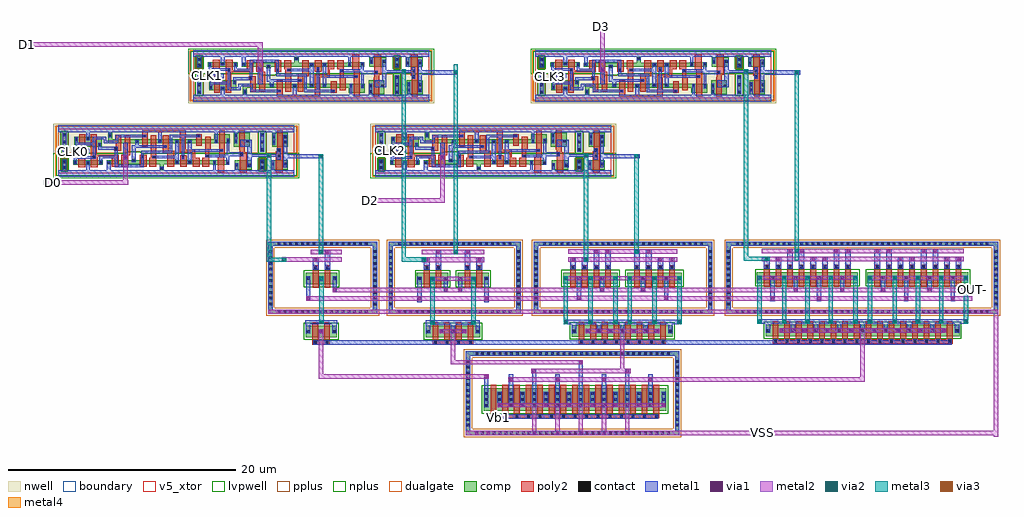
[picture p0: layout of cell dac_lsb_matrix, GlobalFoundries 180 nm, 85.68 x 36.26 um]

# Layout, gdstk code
from math import pi, radians
import gdstk
lib = gdstk.Library(unit=1e-6, precision=5e-09)
def R(c, l, rs):  # rectangles x0, y0, x1, y1
    for r in rs: c.add(gdstk.rectangle(r[:2], r[2:], *l))
def A(c, l, x, y, w, h, nx, ny, dx, dy):  # array of equal rectangles
    R(c, l, [(x+i*dx, y+j*dy, x+i*dx+w, y+j*dy+h) for i in range(nx) for j in range(ny)])
def P(c, l, *ps):  # polygons
    for p in ps: c.add(gdstk.Polygon(p, *l))
boundary = (0, 0)
nwell = (21, 0)
comp = (22, 0)
poly2 = (30, 0)
pplus = (31, 0)
nplus = (32, 0)
contact = (33, 0)
metal1 = (34, 0)
via1 = (35, 0)
metal2 = (36, 0)
via2 = (38, 0)
via3 = (40, 0)
metal3 = (42, 0)
metal4 = (46, 0)
dualgate = (55, 0)
v5_xtor = (112, 1)
lvpwell = (204, 0)

gf180mcu_fd_sc_mcu7t5v0_ = lib.new_cell('gf180mcu_fd_sc_mcu7t5v0__endcap$2')

c_gf180mcu_fd_sc_mcu7t5v0_ = lib.new_cell('gf180mcu_fd_sc_mcu7t5v0__inv_1')

dffqnq_1 = lib.new_cell('dffqnq_1')
R(dffqnq_1, boundary, [(0.43,0.595,1.55,4.515), (1.55,0.595,17.79,4.515), (17.79,0.595,18.91,4.515), (18.91,0.595,21.15,4.515)])
R(dffqnq_1, nwell, [(0,2.355,1.98,4.945), (17.36,2.355,19.34,4.945), (18.48,2.355,21.58,4.945)])
P(dffqnq_1, nwell, [(1.12,2.355),(1.12,4.945),(18.22,4.945),(18.22,2.355),(7.67,2.355),(7.67,2.48),(6.415,2.48),(6.415,2.355)])
R(dffqnq_1, comp, [(0.71,0.875,1.23,1.875), (18.07,0.875,18.59,1.875), (15.91,0.935,17.39,1.755), (19.09,0.935,20.57,1.755), (1.73,1.35,4.33,1.755), (0.79,2.515,1.15,4.155), (18.15,2.515,18.51,4.155), (1.83,2.955,4.23,3.82), (15.85,2.955,17.23,4.175), (19.19,2.955,20.57,4.175)])
P(dffqnq_1, comp, [(4.79,3.23),(4.79,4.195),(5.15,4.195),(5.15,3.59),(14.11,3.59),(14.11,4.03),(15.49,4.03),(15.49,3.23)],
  [(9.33,0.885),(9.33,1.39),(4.69,1.39),(4.69,1.75),(6.87,1.75),(6.87,1.88),(7.23,1.88),(7.23,1.75),(15.45,1.75),(15.45,1.35),(13.97,1.35),(13.97,1.39),(9.69,1.39),(9.69,0.885)])
R(dffqnq_1, poly2, [(7.59,1.17,8.19,2.215), (11.11,1.17,11.71,2.21), (12.53,3.01,13.03,4.05)])
P(dffqnq_1, poly2, [(16.35,0.715),(16.35,2.675),(16.29,2.675),(16.29,4.395),(16.79,4.395),(16.79,2.445),(16.95,2.445),(16.95,0.715)],
  [(14.41,0.715),(14.41,2.035),(14.55,2.035),(14.55,4.395),(15.05,4.395),(15.05,2.15),(15.01,2.15),(15.01,0.715)],
  [(13.07,1.17),(13.07,1.97),(13.31,1.97),(13.31,3.81),(13.81,3.81),(13.81,2.675),(13.67,2.675),(13.67,1.17)],
  [(12.23,1.17),(12.23,2.455),(11.105,2.455),(11.105,4.195),(8.29,4.195),(8.29,2.95),(7.79,2.95),(7.79,4.395),(11.605,4.395),(11.605,2.655),(12.43,2.655),(12.43,1.97),(12.83,1.97),(12.83,1.17)],
  [(9.99,1.17),(9.99,2.375),(9.61,2.375),(9.61,3.955),(10.11,3.955),(10.11,2.575),(10.59,2.575),(10.59,1.17)],
  [(8.43,1.17),(8.43,1.97),(8.53,1.97),(8.53,3.955),(9.03,3.955),(9.03,1.17)],
  [(5.97,1.17),(5.97,2.215),(6.25,2.215),(6.25,3.955),(6.75,3.955),(6.75,2.18),(6.57,2.18),(6.57,1.17)],
  [(5.33,2.57),(5.33,2.93),(5.45,2.93),(5.45,3.955),(5.95,3.955),(5.95,2.57)],
  [(3.29,1.13),(3.29,4.045),(3.79,4.045),(3.79,2.255),(5.73,2.255),(5.73,1.17),(5.13,1.17),(5.13,2.055),(3.89,2.055),(3.89,1.13)],
  [(2.17,1.13),(2.17,2.035),(2.27,2.035),(2.27,4.045),(2.77,4.045),(2.77,1.13)],
  [(19.53,0.715),(19.53,2.525),(19.63,2.525),(19.63,4.395),(20.13,4.395),(20.13,0.715)])
R(dffqnq_1, pplus, [(0.63,0.795,1.31,1.955), (17.99,0.795,18.67,1.955), (18.71,2.355,21.35,4.715)])
P(dffqnq_1, pplus, [(1.35,2.355),(1.35,4.715),(17.99,4.715),(17.99,2.355),(7.67,2.355),(7.67,2.48),(6.415,2.48),(6.415,2.355)],
  [(0.23,2.355),(0.23,4.715),(1.75,4.715),(1.75,2.355),(1.31,2.355),(1.31,4.315),(0.63,4.315),(0.63,2.355)],
  [(17.59,2.355),(17.59,4.715),(19.11,4.715),(19.11,2.355),(18.67,2.355),(18.67,4.315),(17.99,4.315),(17.99,2.355)])
R(dffqnq_1, nplus, [(18.71,0.395,21.35,2.355)])
P(dffqnq_1, nplus, [(1.35,0.395),(1.35,2.355),(6.415,2.355),(6.415,2.48),(7.67,2.48),(7.67,2.355),(17.99,2.355),(17.99,0.395)],
  [(0.23,0.395),(0.23,2.355),(0.63,2.355),(0.63,4.315),(1.31,4.315),(1.31,1.955),(0.63,1.955),(0.63,0.795),(1.31,0.795),(1.31,4.315),(1.31,2.355),(1.75,2.355),(1.75,0.395)],
  [(17.59,0.395),(17.59,2.355),(17.99,2.355),(17.99,4.315),(18.67,4.315),(18.67,1.955),(17.99,1.955),(17.99,0.795),(18.67,0.795),(18.67,4.315),(18.67,2.355),(19.11,2.355),(19.11,0.395)])
A(dffqnq_1, contact, 0.86, 2.585, 0.22, 0.22, 1, 3, 0, 0.64)
A(dffqnq_1, contact, 18.22, 2.585, 0.22, 0.22, 1, 3, 0, 0.64)
R(dffqnq_1, contact, [(9.4,0.955,9.62,1.175), (0.86,0.995,1.08,1.215), (18.22,0.995,18.44,1.215), (15.98,1.205,16.2,1.425), (17.1,1.205,17.32,1.425), (19.16,1.33,19.38,1.55), (20.28,1.33,20.5,1.55), (2.92,1.42,3.14,1.64), (14.04,1.42,14.26,1.64), (15.16,1.42,15.38,1.64), (4.76,1.46,4.98,1.68), (10.74,1.46,10.96,1.68), (11.86,1.46,12.08,1.68), (1.8,1.465,2.02,1.685), (4.04,1.465,4.26,1.685), (0.86,1.5,1.08,1.72), (18.22,1.5,18.44,1.72), (6.94,1.59,7.16,1.81), (8.74,1.92,8.96,2.14), (11.275,1.92,11.495,2.14), (6.185,1.925,6.405,2.145), (7.72,1.925,7.94,2.145), (3.47,1.935,3.69,2.155), (13.38,2,13.6,2.22), (19.7,2.015,19.92,2.235), (16.42,2.155,16.64,2.375), (2.34,2.45,2.56,2.67), (19.7,2.485,19.92,2.705), (14.62,2.495,14.84,2.715), (5.4,2.64,5.62,2.86), (9.68,2.84,9.9,3.06), (3.94,3.025,4.16,3.245), (19.26,3.225,19.48,3.445), (20.28,3.225,20.5,3.445), (7.22,3.3,7.44,3.52), (9.24,3.3,9.46,3.52), (10.735,3.3,10.955,3.52), (11.86,3.3,12.08,3.52), (14.18,3.345,14.4,3.565), (15.2,3.345,15.42,3.565), (15.92,3.345,16.14,3.565), (16.94,3.345,17.16,3.565), (1.9,3.465,2.12,3.685), (2.92,3.53,3.14,3.75), (19.26,3.695,19.48,3.915), (20.28,3.695,20.5,3.915), (7.86,3.76,8.08,3.98), (12.6,3.76,12.82,3.98), (15.92,3.815,16.14,4.035), (4.86,3.84,5.08,4.06)])
R(dffqnq_1, metal1, [(1.15,0.295,1.55,0.895), (20.175,1.125,20.505,3.985), (19.62,1.795,19.945,2.795), (6.12,1.805,6.525,3.305), (18.73,1.99,19.11,2.37), (17.4,2.055,19.62,2.285), (1.555,2.365,2.975,2.745), (2.2,2.365,3.14,2.745)])
P(dffqnq_1, metal1, [(14.175,3.23),(14.175,4.215),(9.52,4.215),(9.52,3.295),(9.18,3.295),(9.18,4.215),(5.085,4.215),(5.085,3.78),(4.855,3.78),(4.855,4.215),(3.2,4.215),(3.2,3.525),(2.86,3.525),(2.86,4.215),(1.55,4.215),(1.55,4.815),(17.79,4.815),(17.79,4.215),(16.145,4.215),(16.145,3.23),(15.915,3.23),(15.915,4.215),(14.405,4.215),(14.405,3.23)],
  [(1.55,0.295),(1.55,0.895),(2.86,0.895),(2.86,1.645),(3.2,1.645),(3.2,0.895),(4.7,0.895),(4.7,1.685),(5.04,1.685),(5.04,0.895),(9.34,0.895),(9.34,1.18),(9.68,1.18),(9.68,0.895),(14.035,0.895),(14.035,1.7),(14.265,1.7),(14.265,0.895),(15.975,0.895),(15.975,1.485),(16.205,1.485),(16.205,0.895),(17.79,0.895),(17.79,0.295)],
  [(17.02,1.145),(17.02,2.925),(16.385,2.925),(16.385,3.57),(17.4,3.57),(17.4,1.145)],
  [(15.155,1.35),(15.155,1.995),(13.32,1.995),(13.32,2.225),(15.195,2.225),(15.195,3.625),(15.425,3.625),(15.425,2.435),(16.645,2.435),(16.645,2.095),(15.42,2.095),(15.42,1.35)],
  [(11.8,1.455),(11.8,3.525),(12.14,3.525),(12.14,2.725),(14.9,2.725),(14.9,2.49),(12.14,2.49),(12.14,1.455)],
  [(5.395,1.125),(5.395,1.92),(4.265,1.92),(4.265,1.405),(4.035,1.405),(4.035,2.15),(5.395,2.15),(5.395,2.685),(3.935,2.685),(3.935,3.305),(4.165,3.305),(4.165,2.92),(5.625,2.92),(5.625,1.355),(7.715,1.355),(7.715,2.605),(10.19,2.605),(10.19,3.985),(12.88,3.985),(12.88,3.755),(11.5,3.755),(11.5,1.82),(11.27,1.82),(11.27,3.755),(10.42,3.755),(10.42,2.375),(7.945,2.375),(7.945,1.125)],
  [(10.68,1.455),(10.68,1.915),(8.68,1.915),(8.68,2.145),(10.675,2.145),(10.675,3.525),(11.02,3.525),(11.02,1.455)],
  [(6.875,1.585),(6.875,3.065),(7.16,3.065),(7.16,3.525),(7.5,3.525),(7.5,3.065),(9.96,3.065),(9.96,2.835),(7.22,2.835),(7.22,1.585)],
  [(1.795,1.405),(1.795,2.105),(3.465,2.105),(3.465,3.065),(1.895,3.065),(1.895,3.75),(2.125,3.75),(2.125,3.295),(3.465,3.295),(3.465,3.81),(4.625,3.81),(4.625,3.48),(5.44,3.48),(5.44,3.985),(8.14,3.985),(8.14,3.755),(5.67,3.755),(5.67,3.245),(4.395,3.245),(4.395,3.575),(3.695,3.575),(3.695,1.875),(2.025,1.875),(2.025,1.405)],
  [(0.43,0.295),(0.43,0.895),(0.8,0.895),(0.8,1.785),(1.14,1.785),(1.14,0.895),(1.55,0.895),(1.55,0.295)],
  [(17.79,0.295),(17.79,0.895),(18.16,0.895),(18.16,1.785),(18.5,1.785),(18.5,0.895),(18.91,0.895),(18.91,0.295)],
  [(0.8,2.515),(0.8,4.215),(0.43,4.215),(0.43,4.815),(1.55,4.815),(1.55,4.215),(1.14,4.215),(1.14,2.515)],
  [(18.16,2.515),(18.16,4.215),(17.79,4.215),(17.79,4.815),(18.91,4.815),(18.91,4.215),(18.5,4.215),(18.5,2.515)],
  [(18.91,0.295),(18.91,0.895),(19.155,0.895),(19.155,1.755),(19.385,1.755),(19.385,0.895),(21.15,0.895),(21.15,0.295)],
  [(19.255,3.125),(19.255,4.215),(18.91,4.215),(18.91,4.815),(21.15,4.815),(21.15,4.215),(19.485,4.215),(19.485,3.125)])
R(dffqnq_1, via1, [(6.2,1.87,6.46,2.13), (18.79,2.05,19.05,2.31), (1.62,2.425,1.88,2.685)])
R(dffqnq_1, metal2, [(6.12,0,6.525,2.195), (18.73,1.99,19.11,2.37), (1.555,2.365,1.935,2.745)])
R(dffqnq_1, via2, [(18.79,2.05,19.05,2.31), (1.62,2.425,1.88,2.685)])
R(dffqnq_1, via3, [(1.62,2.425,1.88,2.685)])
R(dffqnq_1, metal3, [(1.555,2.365,1.935,2.745)])
R(dffqnq_1, metal4, [(1.555,2.365,1.935,2.745)])
R(dffqnq_1, dualgate, [(0.15,0.315,1.83,4.795), (1.27,0.315,18.07,4.795), (17.51,0.315,19.19,4.795), (18.63,0.315,21.43,4.795)])
R(dffqnq_1, v5_xtor, [(0.43,0.595,1.55,4.515), (1.55,0.595,17.79,4.515), (17.79,0.595,18.91,4.515), (18.91,0.595,21.15,4.515)])
R(dffqnq_1, lvpwell, [(0,0.165,1.98,2.355), (17.36,0.165,19.34,2.355), (18.48,0.165,21.58,2.355)])
P(dffqnq_1, lvpwell, [(1.12,0.165),(1.12,2.355),(6.415,2.355),(6.415,2.48),(7.67,2.48),(7.67,2.355),(18.22,2.355),(18.22,0.165)])
dffqnq_1.add(gdstk.Label('I', (19.75,2.555), layer=34, texttype=10))
dffqnq_1.add(gdstk.Label('ZN', (20.31,2.555), layer=34, texttype=10))

dac_lsb_matrix = lib.new_cell('dac_lsb_matrix')
R(dac_lsb_matrix, comp, [(29.845,22.415,30.265,24.415), (30.265,22.415,45.425,24.415), (45.425,22.415,45.845,24.415), (14.195,28.9,14.615,29.9), (14.615,28.9,16.515,29.9), (16.515,28.9,16.935,29.9), (24.745,28.9,25.165,29.9), (25.165,28.9,29.105,29.9), (29.105,28.9,29.525,29.9), (37.565,28.935,37.985,29.935), (37.985,28.935,46.005,29.935), (46.005,28.935,46.425,29.935), (54.585,28.985,55.005,29.985), (55.005,28.985,71.185,29.985), (71.185,28.985,71.605,29.985), (23.98,33.52,24.4,34.52), (23.98,33.52,24.4,34.52), (24.4,33.52,26.3,34.52), (26.3,33.52,26.72,34.52), (27.56,33.52,27.98,34.52), (27.98,33.52,29.88,34.52), (29.88,33.52,30.3,34.52), (14.23,33.525,14.65,34.525), (14.65,33.525,16.55,34.525), (16.55,33.525,16.97,34.525), (36.825,33.555,37.245,34.555), (36.825,33.555,37.245,34.555), (37.245,33.555,41.185,34.555), (41.185,33.555,41.605,34.555), (42.445,33.555,42.865,34.555), (42.865,33.555,46.805,34.555), (46.805,33.555,47.225,34.555), (46.805,33.555,47.225,34.555), (53.825,33.605,54.245,34.605), (54.245,33.605,62.265,34.605), (62.265,33.605,62.685,34.605), (63.525,33.605,63.945,34.605), (63.945,33.605,71.965,34.605), (71.965,33.605,72.385,34.605)])
P(dac_lsb_matrix, comp, [(21.48,30.92),(21.48,31.3),(32.7,31.3),(32.7,36.89),(21.86,36.89),(21.86,31.3),(21.48,31.3),(21.48,37.27),(33.08,37.27),(33.08,30.92)],
  [(34.235,30.92),(34.235,31.3),(49.535,31.3),(49.535,36.89),(34.615,36.89),(34.615,31.3),(34.235,31.3),(34.235,37.27),(49.915,37.27),(49.915,30.92)],
  [(51.15,30.92),(51.15,31.3),(74.61,31.3),(74.61,36.89),(51.53,36.89),(51.53,31.3),(51.15,31.3),(51.15,37.27),(74.99,37.27),(74.99,30.92)],
  [(10.92,30.92),(10.92,31.3),(20.1,31.3),(20.1,36.89),(11.3,36.89),(11.3,31.3),(10.92,31.3),(10.92,37.27),(20.48,37.27),(20.48,30.92)],
  [(28.275,20.29),(28.275,20.67),(46.635,20.67),(46.635,27.26),(28.655,27.26),(28.655,20.67),(28.275,20.67),(28.275,27.64),(47.015,27.64),(47.015,20.29)])
A(dac_lsb_matrix, poly2, 30.455, 21.755, 0.5, 0.36, 15, 1, 1.02, 0)
A(dac_lsb_matrix, poly2, 30.455, 22.115, 0.5, 2.6, 15, 1, 1.02, 0)
A(dac_lsb_matrix, poly2, 25.355, 28.24, 0.5, 0.36, 4, 1, 1.02, 0)
A(dac_lsb_matrix, poly2, 38.175, 28.275, 0.5, 0.36, 8, 1, 1.02, 0)
A(dac_lsb_matrix, poly2, 55.195, 28.325, 0.5, 0.36, 16, 1, 1.02, 0)
A(dac_lsb_matrix, poly2, 25.355, 28.6, 0.5, 1.6, 4, 1, 1.02, 0)
A(dac_lsb_matrix, poly2, 38.175, 28.635, 0.5, 1.6, 8, 1, 1.02, 0)
A(dac_lsb_matrix, poly2, 55.195, 28.685, 0.5, 1.6, 16, 1, 1.02, 0)
A(dac_lsb_matrix, poly2, 37.435, 33.255, 0.5, 1.6, 4, 1, 1.02, 0)
A(dac_lsb_matrix, poly2, 43.055, 33.255, 0.5, 1.6, 4, 1, 1.02, 0)
A(dac_lsb_matrix, poly2, 54.435, 33.305, 0.5, 1.6, 8, 1, 1.02, 0)
A(dac_lsb_matrix, poly2, 64.135, 33.305, 0.5, 1.6, 8, 1, 1.02, 0)
A(dac_lsb_matrix, poly2, 37.435, 34.855, 0.5, 0.36, 4, 1, 1.02, 0)
A(dac_lsb_matrix, poly2, 43.055, 34.855, 0.5, 0.36, 4, 1, 1.02, 0)
A(dac_lsb_matrix, poly2, 54.435, 34.905, 0.5, 0.36, 8, 1, 1.02, 0)
A(dac_lsb_matrix, poly2, 64.135, 34.905, 0.5, 0.36, 8, 1, 1.02, 0)
R(dac_lsb_matrix, poly2, [(30.455,21.755,45.235,22.125), (14.805,28.24,15.305,28.6), (14.805,28.24,16.325,28.6), (15.825,28.24,16.325,28.6), (25.355,28.24,28.915,28.61), (38.175,28.275,45.815,28.645), (55.195,28.325,70.995,28.695), (14.805,28.6,15.305,30.2), (15.825,28.6,16.325,30.2), (24.59,33.22,25.09,34.82), (25.61,33.22,26.11,34.82), (28.17,33.22,28.67,34.82), (29.19,33.22,29.69,34.82), (14.84,33.225,15.34,34.825), (15.86,33.225,16.36,34.825), (24.59,34.82,25.09,35.18), (25.61,34.82,26.11,35.18), (28.17,34.82,28.67,35.18), (29.19,34.82,29.69,35.18), (14.84,34.825,15.34,35.185), (15.86,34.825,16.36,35.185)])
P(dac_lsb_matrix, pplus, [(21.31,30.75),(21.31,31.47),(32.53,31.47),(32.53,36.72),(22.03,36.72),(22.03,31.47),(21.31,31.47),(21.31,37.44),(33.25,37.44),(33.25,30.75)],
  [(34.065,30.75),(34.065,31.47),(49.365,31.47),(49.365,36.72),(34.785,36.72),(34.785,31.47),(34.065,31.47),(34.065,37.44),(50.085,37.44),(50.085,30.75)],
  [(50.98,30.75),(50.98,31.47),(74.44,31.47),(74.44,36.72),(51.7,36.72),(51.7,31.47),(50.98,31.47),(50.98,37.44),(75.16,37.44),(75.16,30.75)],
  [(10.75,30.75),(10.75,31.47),(19.93,31.47),(19.93,36.72),(11.47,36.72),(11.47,31.47),(10.75,31.47),(10.75,37.44),(20.65,37.44),(20.65,30.75)],
  [(28.105,20.12),(28.105,20.84),(46.465,20.84),(46.465,27.09),(28.825,27.09),(28.825,20.84),(28.105,20.84),(28.105,27.81),(47.185,27.81),(47.185,20.12)])
R(dac_lsb_matrix, nplus, [(29.675,22.175,46.015,24.655), (14.025,28.66,17.105,30.14), (24.575,28.66,29.695,30.14), (37.395,28.695,46.595,30.175), (54.415,28.745,71.775,30.225), (23.81,33.28,26.89,34.76), (27.39,33.28,30.47,34.76), (14.06,33.285,17.14,34.765), (36.655,33.315,41.775,34.795), (42.275,33.315,47.395,34.795), (53.655,33.365,62.855,34.845), (63.355,33.365,72.555,34.845)])
A(dac_lsb_matrix, contact, 29.12, 20.37, 0.22, 0.22, 34, 2, 0.51, 6.97)
A(dac_lsb_matrix, contact, 28.355, 21.05, 0.22, 0.22, 1, 12, 0, 0.51)
A(dac_lsb_matrix, contact, 46.715, 21.05, 0.22, 0.22, 1, 12, 0, 0.51)
A(dac_lsb_matrix, contact, 30.595, 21.825, 0.22, 0.22, 15, 1, 1.02, 0)
A(dac_lsb_matrix, contact, 29.945, 22.795, 0.22, 0.22, 1, 3, 0, 0.51)
A(dac_lsb_matrix, contact, 31.105, 22.795, 0.22, 0.22, 14, 3, 1.02, 0.51)
A(dac_lsb_matrix, contact, 45.525, 22.795, 0.22, 0.22, 1, 3, 0, 0.51)
A(dac_lsb_matrix, contact, 25.495, 28.31, 0.22, 0.22, 4, 1, 1.02, 0)
A(dac_lsb_matrix, contact, 38.315, 28.345, 0.22, 0.22, 8, 1, 1.02, 0)
A(dac_lsb_matrix, contact, 55.335, 28.395, 0.22, 0.22, 16, 1, 1.02, 0)
A(dac_lsb_matrix, contact, 14.295, 29.29, 0.22, 0.22, 3, 1, 1.16, 0)
A(dac_lsb_matrix, contact, 26.005, 29.29, 0.22, 0.22, 3, 1, 1.02, 0)
A(dac_lsb_matrix, contact, 38.825, 29.325, 0.22, 0.22, 7, 1, 1.02, 0)
A(dac_lsb_matrix, contact, 55.845, 29.375, 0.22, 0.22, 15, 1, 1.02, 0)
A(dac_lsb_matrix, contact, 11.765, 31, 0.22, 0.22, 16, 2, 0.51, 5.97)
A(dac_lsb_matrix, contact, 22.325, 31, 0.22, 0.22, 20, 2, 0.51, 5.97)
A(dac_lsb_matrix, contact, 35.08, 31, 0.22, 0.22, 28, 2, 0.51, 5.97)
A(dac_lsb_matrix, contact, 51.995, 31, 0.22, 0.22, 44, 2, 0.51, 5.97)
A(dac_lsb_matrix, contact, 11, 31.69, 0.22, 0.22, 1, 10, 0, 0.51)
A(dac_lsb_matrix, contact, 20.18, 31.69, 0.22, 0.22, 1, 10, 0, 0.51)
A(dac_lsb_matrix, contact, 21.56, 31.69, 0.22, 0.22, 1, 10, 0, 0.51)
A(dac_lsb_matrix, contact, 32.78, 31.69, 0.22, 0.22, 1, 10, 0, 0.51)
A(dac_lsb_matrix, contact, 34.315, 31.69, 0.22, 0.22, 1, 10, 0, 0.51)
A(dac_lsb_matrix, contact, 49.615, 31.69, 0.22, 0.22, 1, 10, 0, 0.51)
A(dac_lsb_matrix, contact, 51.23, 31.69, 0.22, 0.22, 1, 10, 0, 0.51)
A(dac_lsb_matrix, contact, 74.69, 31.69, 0.22, 0.22, 1, 10, 0, 0.51)
A(dac_lsb_matrix, contact, 24.08, 33.91, 0.22, 0.22, 3, 1, 1.16, 0)
A(dac_lsb_matrix, contact, 27.66, 33.91, 0.22, 0.22, 3, 1, 1.16, 0)
A(dac_lsb_matrix, contact, 14.33, 33.915, 0.22, 0.22, 3, 1, 1.16, 0)
A(dac_lsb_matrix, contact, 38.085, 33.945, 0.22, 0.22, 3, 1, 1.02, 0)
A(dac_lsb_matrix, contact, 43.705, 33.945, 0.22, 0.22, 3, 1, 1.02, 0)
A(dac_lsb_matrix, contact, 55.085, 33.995, 0.22, 0.22, 7, 1, 1.02, 0)
A(dac_lsb_matrix, contact, 64.785, 33.995, 0.22, 0.22, 7, 1, 1.02, 0)
A(dac_lsb_matrix, contact, 37.575, 34.925, 0.22, 0.22, 4, 1, 1.02, 0)
A(dac_lsb_matrix, contact, 43.195, 34.925, 0.22, 0.22, 4, 1, 1.02, 0)
A(dac_lsb_matrix, contact, 54.575, 34.975, 0.22, 0.22, 8, 1, 1.02, 0)
A(dac_lsb_matrix, contact, 64.275, 34.975, 0.22, 0.22, 8, 1, 1.02, 0)
R(dac_lsb_matrix, contact, [(14.945,28.31,15.165,28.53), (15.965,28.31,16.185,28.53), (24.845,29.29,25.065,29.51), (29.205,29.29,29.425,29.51), (37.665,29.325,37.885,29.545), (46.105,29.325,46.325,29.545), (54.685,29.375,54.905,29.595), (71.285,29.375,71.505,29.595), (24.08,33.91,24.3,34.13), (36.925,33.945,37.145,34.165), (36.925,33.945,37.145,34.165), (41.285,33.945,41.505,34.165), (42.545,33.945,42.765,34.165), (46.905,33.945,47.125,34.165), (46.905,33.945,47.125,34.165), (53.925,33.995,54.145,34.215), (62.365,33.995,62.585,34.215), (63.625,33.995,63.845,34.215), (72.065,33.995,72.285,34.215), (24.73,34.89,24.95,35.11), (25.75,34.89,25.97,35.11), (28.31,34.89,28.53,35.11), (29.33,34.89,29.55,35.11), (14.98,34.895,15.2,35.115), (16,34.895,16.22,35.115)])
A(dac_lsb_matrix, metal1, 30.515, 21.745, 0.38, 0.38, 15, 1, 1.02, 0)
A(dac_lsb_matrix, metal1, 31.025, 22.715, 0.38, 1.4, 14, 1, 1.02, 0)
A(dac_lsb_matrix, metal1, 36.125, 22.715, 0.38, 2.92, 3, 1, 2.04, 0)
A(dac_lsb_matrix, metal1, 25.415, 28.23, 0.38, 0.38, 4, 1, 1.02, 0)
A(dac_lsb_matrix, metal1, 38.235, 28.265, 0.38, 0.38, 8, 1, 1.02, 0)
A(dac_lsb_matrix, metal1, 55.255, 28.315, 0.38, 0.38, 16, 1, 1.02, 0)
A(dac_lsb_matrix, metal1, 14.215, 29.21, 0.38, 0.38, 3, 1, 1.16, 0)
A(dac_lsb_matrix, metal1, 24.765, 29.21, 0.38, 1.165, 3, 1, 2.18, 0)
A(dac_lsb_matrix, metal1, 25.925, 29.21, 0.38, 0.38, 3, 1, 1.02, 0)
A(dac_lsb_matrix, metal1, 38.745, 29.245, 0.38, 0.38, 7, 1, 1.02, 0)
A(dac_lsb_matrix, metal1, 39.765, 29.245, 0.38, 1.165, 3, 1, 2.04, 0)
A(dac_lsb_matrix, metal1, 55.765, 29.295, 0.38, 0.38, 15, 1, 1.02, 0)
A(dac_lsb_matrix, metal1, 56.785, 29.295, 0.38, 1.165, 7, 1, 2.04, 0)
A(dac_lsb_matrix, metal1, 24, 33.83, 0.38, 0.38, 3, 1, 1.16, 0)
A(dac_lsb_matrix, metal1, 27.58, 33.83, 0.38, 0.38, 3, 1, 1.16, 0)
A(dac_lsb_matrix, metal1, 14.25, 33.835, 0.38, 0.38, 3, 1, 1.16, 0)
A(dac_lsb_matrix, metal1, 38.005, 33.865, 0.38, 0.38, 3, 1, 1.02, 0)
A(dac_lsb_matrix, metal1, 43.625, 33.865, 0.38, 0.38, 3, 1, 1.02, 0)
A(dac_lsb_matrix, metal1, 55.005, 33.915, 0.38, 0.38, 7, 1, 1.02, 0)
A(dac_lsb_matrix, metal1, 64.705, 33.915, 0.38, 0.38, 7, 1, 1.02, 0)
A(dac_lsb_matrix, metal1, 37.495, 34.845, 0.38, 0.38, 4, 1, 1.02, 0)
A(dac_lsb_matrix, metal1, 43.115, 34.845, 0.38, 0.38, 4, 1, 1.02, 0)
A(dac_lsb_matrix, metal1, 54.495, 34.895, 0.38, 0.38, 8, 1, 1.02, 0)
A(dac_lsb_matrix, metal1, 64.195, 34.895, 0.38, 0.38, 8, 1, 1.02, 0)
R(dac_lsb_matrix, metal1, [(30.515,21.745,45.175,22.125), (29.865,22.715,30.245,24.115), (29.865,22.715,30.245,25.635), (32.045,22.715,32.425,25.635), (34.085,22.715,34.465,26.11), (42.245,22.715,42.625,26.11), (44.285,22.715,44.665,25.635), (45.445,22.715,45.825,24.115), (38.165,25.635,38.545,26.67), (38.165,26.49,38.545,26.87), (14.865,28.23,70.935,28.61), (14.865,28.23,15.245,28.61), (14.865,28.23,16.265,28.61), (15.885,28.23,16.265,28.61), (25.415,28.23,28.855,28.61), (38.235,28.265,45.755,28.645), (14.215,29.21,14.595,30.375), (16.535,29.21,16.915,30.375), (24.765,29.21,25.145,29.59), (29.125,29.21,29.505,29.59), (37.585,29.245,37.965,29.625), (37.585,29.245,37.965,30.41), (46.025,29.245,46.405,29.625), (46.025,29.245,46.405,30.41), (54.605,29.295,54.985,29.675), (54.605,29.295,54.985,30.46), (71.205,29.295,71.585,29.675), (71.205,29.295,71.585,30.46), (24.765,29.995,29.505,30.375), (14.16,30,16.97,30.38), (36.85,30.03,47.21,30.41), (53.845,30.08,72.365,30.46), (24,31.96,24.38,34.21), (29.9,31.96,30.28,34.21), (55.005,32.045,55.385,34.295), (59.085,32.045,59.465,34.295), (66.745,32.045,67.125,34.295), (70.825,32.045,71.205,34.295), (14.25,32.09,14.63,34.215), (38.005,32.15,38.385,34.245), (45.665,32.15,46.045,34.245), (26.32,32.845,26.7,34.21), (27.58,32.845,27.96,34.21), (27.58,32.845,27.96,34.21), (57.045,32.845,57.425,34.295), (61.125,32.845,61.505,34.295), (64.705,32.845,65.085,34.295), (68.785,32.845,69.165,34.295), (16.57,32.85,16.95,34.215), (40.045,32.88,40.425,34.245), (43.625,32.88,44.005,34.245), (24,33.83,24.38,34.21), (36.845,33.865,37.225,34.245), (36.845,33.865,37.225,34.245), (41.205,33.865,41.585,34.245), (42.465,33.865,42.845,34.245), (46.825,33.865,47.205,34.245), (46.825,33.865,47.205,34.245), (53.845,33.915,54.225,34.295), (62.285,33.915,62.665,34.295), (63.545,33.915,63.925,34.295), (71.985,33.915,72.365,34.295), (24.59,34.81,25.09,35.88), (24.65,34.81,25.03,35.19), (25.61,34.81,26.11,36.57), (25.67,34.81,26.05,35.19), (28.17,34.81,28.67,36.57), (28.23,34.81,28.61,35.19), (29.19,34.81,29.69,35.88), (29.25,34.81,29.63,35.19), (14.84,34.815,15.34,35.885), (14.84,34.815,15.34,35.885), (14.9,34.815,15.28,35.195), (15.86,34.815,16.36,36.575), (15.92,34.815,16.3,35.195), (37.435,34.845,37.935,35.915), (38.455,34.845,38.955,35.915), (39.475,34.845,39.975,36.605), (40.495,34.845,40.995,36.605), (43.055,34.845,43.555,36.605), (44.075,34.845,44.575,36.605), (45.095,34.845,45.595,35.915), (46.115,34.845,46.615,35.915), (54.435,34.895,54.935,35.965), (55.455,34.895,55.955,35.965), (56.475,34.895,56.975,36.655), (57.495,34.895,57.995,36.655), (58.515,34.895,59.015,35.965), (59.535,34.895,60.035,35.965), (60.555,34.895,61.055,36.655), (61.575,34.895,62.075,36.655), (64.135,34.895,64.635,36.655), (65.155,34.895,65.655,36.655), (66.175,34.895,66.675,35.965), (67.195,34.895,67.695,35.965), (68.215,34.895,68.715,36.655), (69.235,34.895,69.735,36.655), (70.255,34.895,70.755,35.965), (71.275,34.895,71.775,35.965), (12.57,44.58,15.735,44.96), (15.355,44.58,15.735,44.96), (40.39,44.58,43.555,44.96), (43.065,44.58,43.445,44.96), (24.4,51.935,27.565,52.315), (54.455,51.935,57.62,52.315)])
P(dac_lsb_matrix, metal1, [(21.48,30.92),(21.48,31.3),(32.7,31.3),(32.7,36.89),(21.86,36.89),(21.86,31.3),(21.48,31.3),(21.48,37.27),(33.08,37.27),(33.08,30.92)],
  [(34.235,30.92),(34.235,31.3),(49.535,31.3),(49.535,36.89),(34.615,36.89),(34.615,31.3),(34.235,31.3),(34.235,37.27),(49.915,37.27),(49.915,30.92)],
  [(51.15,30.92),(51.15,31.3),(74.61,31.3),(74.61,36.89),(51.53,36.89),(51.53,31.3),(51.15,31.3),(51.15,37.27),(74.99,37.27),(74.99,30.92)],
  [(10.92,30.92),(10.92,31.3),(20.1,31.3),(20.1,36.89),(11.3,36.89),(11.3,31.3),(10.92,31.3),(10.92,37.27),(20.48,37.27),(20.48,30.92)],
  [(28.275,20.29),(28.275,20.67),(46.635,20.67),(46.635,27.26),(28.655,27.26),(28.655,20.67),(28.275,20.67),(28.275,27.64),(47.015,27.64),(47.015,20.29)])
A(dac_lsb_matrix, via1, 36.19, 20.365, 0.26, 0.26, 3, 1, 2.045, 0)
A(dac_lsb_matrix, via1, 31.085, 22.775, 0.26, 0.26, 7, 1, 2.04, 0)
A(dac_lsb_matrix, via1, 38.805, 29.305, 0.26, 0.26, 4, 1, 2.04, 0)
A(dac_lsb_matrix, via1, 61.94, 29.355, 0.26, 0.26, 3, 1, 2.04, 0)
A(dac_lsb_matrix, via1, 36.905, 30.095, 0.26, 0.26, 3, 2, 2.18, 3.83)
A(dac_lsb_matrix, via1, 65.785, 30.15, 0.26, 0.26, 3, 1, 2.04, 0)
A(dac_lsb_matrix, via1, 42.525, 33.925, 0.26, 0.26, 3, 1, 2.18, 0)
R(dac_lsb_matrix, via1, [(29.1,20.355,29.36,20.615), (30.12,20.355,30.38,20.615), (34.155,20.365,34.415,20.625), (42.3,20.365,42.56,20.625), (45.505,22.775,45.765,23.035), (32.12,25.03,32.38,25.29), (36.2,25.03,36.46,25.29), (40.265,25.03,40.525,25.29), (44.345,25.03,44.605,25.29), (29.93,25.31,30.19,25.57), (34.145,25.795,34.405,26.055), (42.305,25.795,42.565,26.055), (38.225,26.54,38.485,26.8), (15.435,29.27,15.695,29.53), (25.985,29.27,26.245,29.53), (28.025,29.27,28.285,29.53), (55.815,29.355,56.075,29.615), (57.865,29.355,58.125,29.615), (59.905,29.355,60.165,29.615), (68.065,29.355,68.325,29.615), (70.105,29.355,70.365,29.615), (25.22,30.06,25.48,30.32), (28.8,30.06,29.06,30.32), (15.47,30.065,15.73,30.325), (42.525,30.095,42.785,30.355), (44.71,30.095,44.97,30.355), (46.885,30.095,47.145,30.355), (56.085,30.14,56.345,30.4), (53.905,30.15,54.165,30.41), (58.125,30.15,58.385,30.41), (60.165,30.15,60.425,30.41), (62.345,30.15,62.605,30.41), (63.605,30.15,63.865,30.41), (72.045,30.15,72.305,30.41), (11.745,30.98,12.005,31.24), (12.765,30.98,13.025,31.24), (22.305,30.98,22.565,31.24), (23.32,30.98,23.58,31.24), (35.06,30.98,35.32,31.24), (36.08,30.98,36.34,31.24), (51.975,30.98,52.235,31.24), (52.99,30.98,53.25,31.24), (59.14,32.14,59.4,32.4), (24.06,32.145,24.32,32.405), (29.965,32.145,30.225,32.405), (55.07,32.145,55.33,32.405), (66.8,32.15,67.06,32.41), (14.31,32.155,14.57,32.415), (70.89,32.155,71.15,32.415), (38.065,32.225,38.325,32.485), (45.73,32.225,45.99,32.485), (26.375,32.9,26.635,33.16), (16.625,32.905,16.885,33.165), (27.645,32.905,27.905,33.165), (57.105,32.915,57.365,33.175), (61.185,32.915,61.445,33.175), (64.765,32.935,65.025,33.195), (40.105,32.94,40.365,33.2), (43.69,32.94,43.95,33.2), (68.845,32.94,69.105,33.2), (25.22,33.89,25.48,34.15), (28.8,33.89,29.06,34.15), (15.47,33.895,15.73,34.155), (58.125,33.97,58.385,34.23), (62.345,33.97,62.605,34.23), (53.905,33.975,54.165,34.235), (56.085,33.975,56.345,34.235), (60.165,33.975,60.425,34.235), (63.605,33.975,63.865,34.235), (67.825,33.975,68.085,34.235), (69.865,33.975,70.125,34.235), (72.045,33.975,72.305,34.235), (65.785,33.98,66.045,34.24), (24.71,35.55,24.97,35.81), (29.31,35.55,29.57,35.81), (14.96,35.555,15.22,35.815), (37.555,35.585,37.815,35.845), (38.575,35.585,38.835,35.845), (45.215,35.585,45.475,35.845), (46.235,35.585,46.495,35.845), (54.555,35.635,54.815,35.895), (55.575,35.635,55.835,35.895), (58.635,35.635,58.895,35.895), (59.655,35.635,59.915,35.895), (66.295,35.635,66.555,35.895), (67.315,35.635,67.575,35.895), (70.375,35.635,70.635,35.895), (71.395,35.635,71.655,35.895), (25.73,36.24,25.99,36.5), (28.29,36.24,28.55,36.5), (15.98,36.245,16.24,36.505), (39.595,36.275,39.855,36.535), (40.615,36.275,40.875,36.535), (43.175,36.275,43.435,36.535), (44.195,36.275,44.455,36.535), (56.595,36.325,56.855,36.585), (57.615,36.325,57.875,36.585), (60.675,36.325,60.935,36.585), (61.695,36.325,61.955,36.585), (64.255,36.325,64.515,36.585), (65.275,36.325,65.535,36.585), (68.335,36.325,68.595,36.585), (69.355,36.325,69.615,36.585), (15.415,44.64,15.675,44.9), (43.125,44.64,43.385,44.9), (27.245,52,27.505,52.26), (57.19,52.01,57.45,52.27)])
A(dac_lsb_matrix, metal2, 34.085, 20.305, 0.38, 2.79, 5, 1, 2.04, 0)
A(dac_lsb_matrix, metal2, 36.845, 30.03, 0.38, 0.38, 3, 2, 2.18, 3.835)
A(dac_lsb_matrix, metal2, 56.025, 30.08, 0.38, 0.38, 3, 2, 2.04, 3.835)
A(dac_lsb_matrix, metal2, 65.725, 30.08, 0.38, 0.38, 3, 2, 2.04, 3.835)
A(dac_lsb_matrix, metal2, 42.465, 33.865, 0.38, 0.38, 3, 1, 2.18, 0)
R(dac_lsb_matrix, metal2, [(74.61,20.13,74.99,31.3), (28.275,20.29,47.015,20.67), (47.015,20.29,74.995,20.67), (74.61,20.405,74.99,31.3), (31.025,22.715,45.825,23.095), (32.005,24.97,63.285,25.36), (62.905,24.97,63.285,29.595), (15.375,25.255,15.755,27.25), (15.375,25.255,24.845,25.635), (24.845,25.255,30.28,25.635), (34.005,25.73,42.745,26.11), (41.805,25.73,42.185,29.625), (26.945,26.49,38.545,26.87), (26.945,26.49,27.325,28.095), (26.945,26.49,27.995,26.87), (15.375,27.25,15.755,29.59), (26.945,28.095,27.325,29.59), (25.925,29.21,28.345,29.59), (38.745,29.245,45.245,29.625), (55.76,29.295,70.425,29.675), (25.16,29.995,25.54,30.375), (28.74,29.995,29.12,30.375), (15.41,30,15.79,30.38), (42.465,30.03,42.845,30.41), (44.65,30.03,45.03,30.41), (46.825,30.03,47.205,30.41), (53.845,30.08,54.225,30.46), (62.285,30.08,62.665,30.46), (63.545,30.08,63.925,30.46), (71.985,30.08,72.365,30.46), (10.92,30.92,74.99,31.3), (24,32.085,30.275,32.465), (14.25,32.09,72.71,32.47), (14.25,32.09,20.525,32.47), (38.005,32.15,46.045,32.53), (26.32,32.845,27.96,33.225), (16.57,32.85,72.71,33.23), (25.16,33.83,25.54,34.21), (25.16,33.83,29.12,34.21), (28.74,33.83,29.12,34.21), (15.41,33.835,15.79,34.215), (36.845,33.865,47.205,34.245), (63.545,33.885,63.925,34.265), (58.065,33.89,58.445,34.265), (63.545,33.89,72.365,34.295), (67.765,33.89,68.145,34.265), (71.985,33.89,72.365,34.265), (53.845,33.915,54.225,34.295), (53.845,33.915,62.665,34.295), (62.285,33.915,62.665,34.295), (71.985,33.915,72.365,34.295), (63.545,33.92,63.925,34.295), (24.4,35.48,27.14,35.88), (27.14,35.48,29.88,35.88), (12.09,35.485,14.65,35.885), (14.65,35.485,17.39,35.885), (37.245,35.515,42.025,35.915), (42.025,35.515,46.805,35.915), (54.245,35.565,63.105,35.965), (63.105,35.565,71.965,35.965), (24.4,36.17,27.14,36.57), (27.14,36.17,29.88,36.57), (14.65,36.175,17.39,36.575), (37.245,36.205,42.025,36.605), (42.025,36.205,46.805,36.605), (54.245,36.255,63.105,36.655), (63.105,36.255,71.965,36.655), (19.63,40.665,26.41,41.065), (26.01,40.665,26.41,42.665), (-8.77,42.265,-1.37,42.665), (15.355,44.58,15.735,44.96), (43.065,44.58,43.445,44.96), (27.185,51.935,27.565,52.315), (57.125,51.935,57.505,52.315), (-10.52,54.38,10.42,54.78), (40.07,54.38,40.475,56.38)])
P(dac_lsb_matrix, metal2, [(43.71,25.29),(43.71,25.29),(43.71,25.29),(43.71,25.29)])
A(dac_lsb_matrix, via2, 36.905, 30.095, 0.26, 0.26, 3, 2, 2.18, 3.83)
A(dac_lsb_matrix, via2, 65.785, 30.15, 0.26, 0.26, 3, 1, 2.04, 0)
A(dac_lsb_matrix, via2, 42.525, 33.925, 0.26, 0.26, 3, 1, 2.18, 0)
R(dac_lsb_matrix, via2, [(25.22,30.06,25.48,30.32), (28.8,30.06,29.06,30.32), (15.47,30.065,15.73,30.325), (42.525,30.095,42.785,30.355), (44.71,30.095,44.97,30.355), (46.885,30.095,47.145,30.355), (56.085,30.14,56.345,30.4), (53.905,30.15,54.165,30.41), (58.125,30.15,58.385,30.41), (60.165,30.15,60.425,30.41), (62.345,30.15,62.605,30.41), (63.605,30.15,63.865,30.41), (72.045,30.15,72.305,30.41), (25.22,33.89,25.48,34.15), (28.8,33.89,29.06,34.15), (15.47,33.895,15.73,34.155), (58.125,33.97,58.385,34.23), (62.345,33.97,62.605,34.23), (53.905,33.975,54.165,34.235), (56.085,33.975,56.345,34.235), (60.165,33.975,60.425,34.235), (63.605,33.975,63.865,34.235), (67.825,33.975,68.085,34.235), (69.865,33.975,70.125,34.235), (72.045,33.975,72.305,34.235), (65.785,33.98,66.045,34.24), (12.16,35.555,12.42,35.815), (24.46,35.555,24.72,35.815), (38.67,35.58,38.93,35.84), (54.56,35.635,54.82,35.895), (15.415,36.245,15.675,36.505), (27.25,36.25,27.51,36.51), (43.125,36.28,43.385,36.54), (57.18,36.335,57.44,36.595), (15.415,44.64,15.675,44.9), (43.125,44.64,43.385,44.9), (27.245,52,27.505,52.26), (57.19,52.01,57.45,52.27)])
A(dac_lsb_matrix, metal3, 36.845, 30.03, 0.38, 4.215, 3, 1, 2.18, 0)
A(dac_lsb_matrix, metal3, 42.465, 30.03, 0.38, 4.215, 3, 1, 2.18, 0)
A(dac_lsb_matrix, metal3, 56.025, 30.08, 0.38, 4.215, 3, 1, 2.04, 0)
A(dac_lsb_matrix, metal3, 65.725, 30.08, 0.38, 4.215, 3, 1, 2.04, 0)
R(dac_lsb_matrix, metal3, [(25.16,29.995,25.54,34.21), (28.74,29.995,29.12,34.21), (15.41,30,15.79,34.215), (53.845,30.08,54.225,34.295), (62.285,30.08,62.665,34.295), (63.545,30.08,63.925,34.295), (71.985,30.08,72.365,34.295), (57.125,35.64,57.505,52.31), (27.185,36.17,27.565,52.84), (15.355,36.175,15.735,44.96), (43.065,36.205,43.445,44.96)])
P(dac_lsb_matrix, metal3, [(20.13,42.04),(20.13,42.04),(20.13,42.04),(20.13,42.04)],
  [(34.19,55.75),(34.19,55.75),(34.19,55.75),(34.19,55.75)])
dac_lsb_matrix.add(gdstk.FlexPath([(22.815,52.39),(22.815,35.69),(24.775,35.69)], 0.38, ends="flush", simple_path=True, layer=42, datatype=0))  # metal3
dac_lsb_matrix.add(gdstk.FlexPath([(38.805,45.035),(38.805,35.51)], 0.38, ends="flush", simple_path=True, layer=42, datatype=0))  # metal3
dac_lsb_matrix.add(gdstk.FlexPath([(52.87,52.39),(52.87,35.775),(54.935,35.775)], 0.38, ends="flush", simple_path=True, layer=42, datatype=0))  # metal3
dac_lsb_matrix.add(gdstk.FlexPath([(10.985,45.035),(10.985,35.685),(12.485,35.685)], 0.38, ends="flush", simple_path=True, layer=42, datatype=0))  # metal3
dac_lsb_matrix.add(gdstk.Reference(gf180mcu_fd_sc_mcu7t5v0_, (4.585,53.785), rotation=pi))
dac_lsb_matrix.add(gdstk.Reference(gf180mcu_fd_sc_mcu7t5v0_, (20.78,43.26)))
dac_lsb_matrix.add(gdstk.Reference(gf180mcu_fd_sc_mcu7t5v0_, (34.64,53.785), rotation=pi))
dac_lsb_matrix.add(gdstk.Reference(gf180mcu_fd_sc_mcu7t5v0_, (-7.045,43.26)))
dac_lsb_matrix.add(gdstk.Reference(gf180mcu_fd_sc_mcu7t5v0_, (10.315,43.26)))
dac_lsb_matrix.add(gdstk.Reference(gf180mcu_fd_sc_mcu7t5v0_, (22.345,53.785), rotation=pi))
dac_lsb_matrix.add(gdstk.Reference(gf180mcu_fd_sc_mcu7t5v0_, (38.14,43.26)))
dac_lsb_matrix.add(gdstk.Reference(gf180mcu_fd_sc_mcu7t5v0_, (52.4,53.785), rotation=pi))
dac_lsb_matrix.add(gdstk.Reference(c_gf180mcu_fd_sc_mcu7t5v0_, (10.975,43.26)))
dac_lsb_matrix.add(gdstk.Reference(dffqnq_1, (-7.935,42.665)))
dac_lsb_matrix.add(gdstk.Reference(dffqnq_1, (19.885,42.665)))
dac_lsb_matrix.add(gdstk.Reference(dffqnq_1, (3.895,54.38), x_reflection=True))
dac_lsb_matrix.add(gdstk.Reference(dffqnq_1, (33.95,54.38), x_reflection=True))
dac_lsb_matrix.add(gdstk.Label('Vb1', (31.11,21.86), layer=34, texttype=10))
dac_lsb_matrix.add(gdstk.Label('D0', (-7.945,42.435), layer=36, texttype=10))
dac_lsb_matrix.add(gdstk.Label('CLK0', (-6.21,45.19), layer=36, texttype=10))
dac_lsb_matrix.add(gdstk.Label('CLK1', (5.6,51.815), layer=36, texttype=10))
dac_lsb_matrix.add(gdstk.Label('CLK2', (21.69,45.275), layer=36, texttype=10))
dac_lsb_matrix.add(gdstk.Label('CLK3', (35.705,51.74), layer=36, texttype=10))
dac_lsb_matrix.add(gdstk.Label('VSS', (54.315,20.54), layer=36, texttype=10))
dac_lsb_matrix.add(gdstk.Label('D3', (40.195,56.135), layer=36, texttype=10))
dac_lsb_matrix.add(gdstk.Label('D1', (-10.23,54.6), layer=36, texttype=10))
dac_lsb_matrix.add(gdstk.Label('D2', (19.86,40.845), layer=36, texttype=10))
dac_lsb_matrix.add(gdstk.Label('OUT-', (72.655,33.05), layer=36, texttype=10))
dac_lsb_matrix.add(gdstk.Label('OUT+', (72.62,32.405), layer=36, texttype=10))

lib.write_gds('dac_lsb_matrix.gds')
